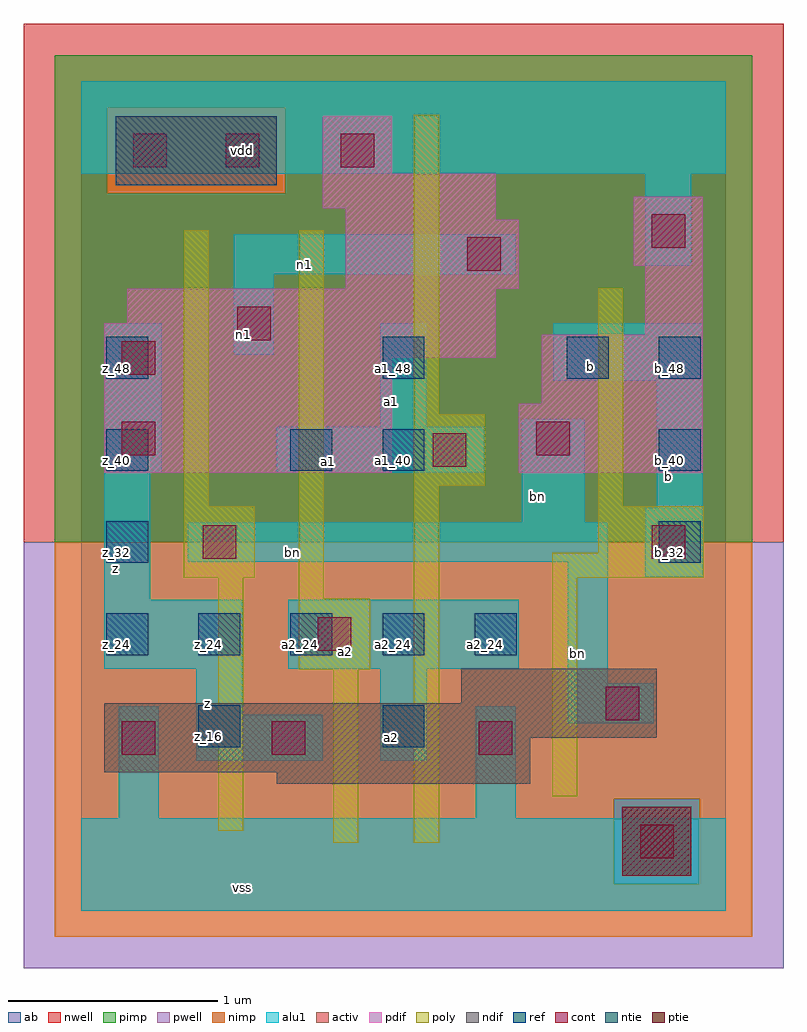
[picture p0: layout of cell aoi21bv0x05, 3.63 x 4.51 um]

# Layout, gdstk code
import gdstk
lib = gdstk.Library(unit=1e-6, precision=2.5e-09)
def R(c, l, rs):  # rectangles x0, y0, x1, y1
    for r in rs: c.add(gdstk.rectangle(r[:2], r[2:], *l))
def A(c, l, x, y, w, h, nx, ny, dx, dy):  # array of equal rectangles
    R(c, l, [(x+i*dx, y+j*dy, x+i*dx+w, y+j*dy+h) for i in range(nx) for j in range(ny)])
ndif = (3, 0)
pdif = (4, 0)
ntie = (5, 0)
ptie = (6, 0)
ref = (24, 0)
cont = (25, 0)
pwell = (41, 0)
nwell = (42, 0)
activ = (43, 0)
pimp = (44, 0)
nimp = (45, 0)
poly = (46, 0)
alu1 = (49, 0)
ab = (63, 0)

aoi21bv0x05 = lib.new_cell('aoi21bv0x05')
R(aoi21bv0x05, ndif, [(0.935,0.605,2.145,0.66), (0.11,0.66,2.145,0.825), (0.11,0.825,2.75,0.99), (1.815,0.99,2.75,1.155)])
R(aoi21bv0x05, pdif, [(0.11,2.09,1.485,2.64), (2.09,2.09,2.97,2.42), (2.2,2.42,2.97,2.75), (0.11,2.64,1.98,2.805), (2.695,2.75,2.97,3.08), (0.22,2.805,1.98,2.97), (1.265,2.97,2.09,3.3), (2.64,3.08,2.97,3.41), (1.265,3.3,1.98,3.355), (1.155,3.355,1.98,3.52), (1.155,3.52,1.485,3.795)])
R(aoi21bv0x05, ntie, [(0.165,3.465,0.935,3.795)])
R(aoi21bv0x05, ptie, [(2.585,0.165,2.915,0.495)])
A(aoi21bv0x05, ref, 0.12, 1.22, 0.2, 0.2, 5, 1, 0.44, 0)
A(aoi21bv0x05, ref, 0.12, 1.66, 0.2, 0.2, 1, 3, 0, 0.44)
A(aoi21bv0x05, ref, 2.76, 1.66, 0.2, 0.2, 1, 3, 0, 0.44)
R(aoi21bv0x05, ref, [(0.56,0.78,0.76,0.98), (1.44,0.78,1.64,0.98), (1,2.1,1.2,2.3), (1.44,2.1,1.64,2.3), (1.44,2.54,1.64,2.74), (2.32,2.54,2.52,2.74)])
R(aoi21bv0x05, cont, [(2.67,0.25,2.83,0.41), (0.195,0.745,0.355,0.905), (0.91,0.745,1.07,0.905), (1.9,0.745,2.06,0.905), (2.505,0.91,2.665,1.07), (1.13,1.24,1.29,1.4), (0.58,1.68,0.74,1.84), (2.725,1.68,2.885,1.84), (1.68,2.12,1.84,2.28), (0.195,2.175,0.355,2.335), (2.175,2.175,2.335,2.335), (0.195,2.56,0.355,2.72), (0.745,2.725,0.905,2.885), (1.845,3.055,2.005,3.215), (2.725,3.165,2.885,3.325), (0.25,3.55,0.41,3.71), (0.69,3.55,0.85,3.71), (1.24,3.55,1.4,3.71)])
R(aoi21bv0x05, pwell, [(-0.275,-0.275,3.355,1.76)])
R(aoi21bv0x05, nwell, [(-0.275,1.76,3.355,4.235)])
R(aoi21bv0x05, activ, [(2.585,0.165,2.915,0.495), (0.935,0.605,2.145,0.66), (0.11,0.66,2.145,0.825), (0.11,0.825,2.75,0.99), (1.815,0.99,2.75,1.155), (0.11,2.09,1.485,2.64), (2.09,2.09,2.97,2.42), (2.2,2.42,2.97,2.75), (0.11,2.64,1.98,2.805), (2.695,2.75,2.97,3.08), (0.22,2.805,1.98,2.97), (1.265,2.97,2.09,3.3), (2.64,3.08,2.97,3.41), (1.265,3.3,1.98,3.355), (1.155,3.355,1.98,3.52), (0.165,3.465,0.935,3.795), (1.155,3.52,1.485,3.795)])
R(aoi21bv0x05, pimp, [(2.545,0.125,2.955,0.535), (-0.125,1.76,3.205,3.425), (-0.125,3.425,0.125,3.835), (0.975,3.425,3.205,3.835), (-0.125,3.835,3.205,4.085)])
R(aoi21bv0x05, nimp, [(-0.125,-0.125,3.205,0.125), (-0.125,0.125,2.545,0.535), (2.955,0.125,3.205,0.535), (-0.125,0.535,3.205,1.76), (0.125,3.425,0.975,3.835)])
R(aoi21bv0x05, poly, [(1.205,0.325,1.325,1.15), (1.59,0.325,1.71,2.03), (0.655,0.38,0.775,1.59), (2.25,0.545,2.37,1.59), (1.04,1.15,1.38,1.49), (1.04,1.49,1.16,3.25), (0.49,1.59,0.83,1.93), (2.25,1.59,2.975,1.71), (2.47,1.71,2.975,1.93), (0.49,1.93,0.61,3.25), (2.47,1.93,2.59,2.975), (1.59,2.03,1.93,2.37), (1.59,2.37,1.71,3.8)])
R(aoi21bv0x05, alu1, [(0,0,3.08,0.44), (0.18,0.44,0.37,0.975), (1.885,0.44,2.075,0.975), (0.55,0.715,1.155,0.935), (1.43,0.715,1.65,1.155), (2.325,0.895,2.735,1.085), (0.55,0.935,0.77,1.155), (2.325,1.085,2.515,1.665), (0.11,1.155,0.77,1.485), (0.99,1.155,2.09,1.485), (0.11,1.485,0.33,2.09), (2.695,1.595,2.97,1.925), (0.51,1.665,2.515,1.855), (2.105,1.855,2.405,2.35), (2.75,1.925,2.97,2.53), (0.11,2.09,0.385,2.805), (0.935,2.09,1.925,2.31), (1.43,2.31,1.65,2.805), (2.255,2.53,2.97,2.805), (0.73,2.655,0.92,3.04), (0.73,3.04,2.075,3.23), (2.695,3.08,2.915,3.52), (0,3.52,3.08,3.96)])
R(aoi21bv0x05, ab, [(0,0,3.08,3.96)])
aoi21bv0x05.add(gdstk.Label('vss', (0.77,0.11), layer=49, texttype=0))
aoi21bv0x05.add(gdstk.Label('bn', (2.3725,1.23), layer=49, texttype=0))
aoi21bv0x05.add(gdstk.Label('a2', (1.485,0.825), layer=49, texttype=0))
aoi21bv0x05.add(gdstk.Label('z', (0.605,0.99), layer=49, texttype=0))
aoi21bv0x05.add(gdstk.Label('a2', (1.265,1.2375), layer=49, texttype=0))
aoi21bv0x05.add(gdstk.Label('bn', (1.01,1.7125), layer=49, texttype=0))
aoi21bv0x05.add(gdstk.Label('b', (2.805,2.075), layer=49, texttype=0))
aoi21bv0x05.add(gdstk.Label('bn', (2.18,1.9775), layer=49, texttype=0))
aoi21bv0x05.add(gdstk.Label('z', (0.165,1.635), layer=49, texttype=0))
aoi21bv0x05.add(gdstk.Label('a1', (1.1825,2.145), layer=49, texttype=0))
aoi21bv0x05.add(gdstk.Label('b', (2.4325,2.5975), layer=49, texttype=0))
aoi21bv0x05.add(gdstk.Label('a1', (1.485,2.4325), layer=49, texttype=0))
aoi21bv0x05.add(gdstk.Label('n1', (0.7775,2.75), layer=49, texttype=0))
aoi21bv0x05.add(gdstk.Label('n1', (1.065,3.0875), layer=49, texttype=0))
aoi21bv0x05.add(gdstk.Label('vdd', (0.77,3.63), layer=49, texttype=0))
aoi21bv0x05.add(gdstk.Label('z_24', (0.61,1.27), layer=24, texttype=0))
aoi21bv0x05.add(gdstk.Label('a2_24', (1.05,1.27), layer=24, texttype=0))
aoi21bv0x05.add(gdstk.Label('a2_24', (1.93,1.27), layer=24, texttype=0))
aoi21bv0x05.add(gdstk.Label('z_48', (0.17,2.59), layer=24, texttype=0))
aoi21bv0x05.add(gdstk.Label('z_40', (0.17,2.15), layer=24, texttype=0))
aoi21bv0x05.add(gdstk.Label('z_32', (0.17,1.71), layer=24, texttype=0))
aoi21bv0x05.add(gdstk.Label('z_24', (0.17,1.27), layer=24, texttype=0))
aoi21bv0x05.add(gdstk.Label('a1_48', (1.49,2.59), layer=24, texttype=0))
aoi21bv0x05.add(gdstk.Label('a2_24', (1.49,1.27), layer=24, texttype=0))
aoi21bv0x05.add(gdstk.Label('a2_16', (1.49,0.83), layer=24, texttype=0))
aoi21bv0x05.add(gdstk.Label('z_16', (0.61,0.83), layer=24, texttype=0))
aoi21bv0x05.add(gdstk.Label('a1_40', (1.05,2.15), layer=24, texttype=0))
aoi21bv0x05.add(gdstk.Label('b_32', (2.81,1.71), layer=24, texttype=0))
aoi21bv0x05.add(gdstk.Label('b_48', (2.37,2.59), layer=24, texttype=0))
aoi21bv0x05.add(gdstk.Label('b_40', (2.81,2.15), layer=24, texttype=0))
aoi21bv0x05.add(gdstk.Label('a1_40', (1.49,2.15), layer=24, texttype=0))
aoi21bv0x05.add(gdstk.Label('b_48', (2.81,2.59), layer=24, texttype=0))

lib.write_gds('aoi21bv0x05.gds')
